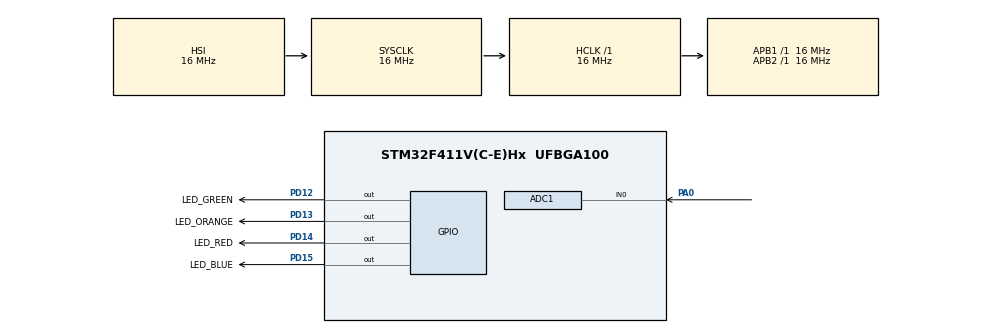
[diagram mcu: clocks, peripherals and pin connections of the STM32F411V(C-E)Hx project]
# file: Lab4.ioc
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ADC1.Channel-0\#ChannelRegularConversion=ADC_CHANNEL_0
ADC1.NbrOfConversionFlag=1
ADC1.Rank-0\#ChannelRegularConversion=1
ADC1.SamplingTime-0\#ChannelRegularConversion=ADC_SAMPLETIME_3CYCLES
ADC1.master=1
Mcu.Family=STM32F4
Mcu.Name=STM32F411V(C-E)Hx
Mcu.Package=UFBGA100
NVIC.ADC_IRQn=true\:0\:0\:false\:false\:true\:true\:true\:true
NVIC.PriorityGroup=NVIC_PRIORITYGROUP_4
PA0-WKUP.Signal=ADCx_IN0
PD12.GPIO_Label=LED_GREEN
PD12.Signal=GPIO_Output
PD13.GPIO_Label=LED_ORANGE
PD13.Signal=GPIO_Output
PD14.GPIO_Label=LED_RED
PD14.Signal=GPIO_Output
PD15.GPIO_Label=LED_BLUE
PD15.Signal=GPIO_Output
ProjectManager.HeapSize=0x200
ProjectManager.StackSize=0x400
ProjectManager.TargetToolchain=STM32CubeIDE
RCC.AHBFreq_Value=16000000
RCC.APB1Freq_Value=16000000
RCC.APB2Freq_Value=16000000
RCC.CortexFreq_Value=16000000
RCC.HSE_VALUE=25000000
RCC.HSI_VALUE=16000000
RCC.LSE_VALUE=32768
RCC.SYSCLKFreq_VALUE=16000000
RCC.VCOOutputFreq_Value=192000000
SH.ADCx_IN0.0=ADC1_IN0,IN0
board=custom

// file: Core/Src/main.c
/* USER CODE BEGIN Header */
/**
  ******************************************************************************
  * @file           : main.c
  * @brief          : Main program body
  ******************************************************************************
  * @attention
  *
  * Copyright (c) 2023 STMicroelectronics.
  * All rights reserved.
  *
  * This software is licensed under terms that can be found in the LICENSE file
  * in the root directory of this software component.
  * If no LICENSE file comes with this software, it is provided AS-IS.
  *
  ******************************************************************************
  */
/* USER CODE END Header */
#include "main.h"

ADC_HandleTypeDef hadc1;

void SystemClock_Config(void);
static void MX_GPIO_Init(void);
static void MX_ADC1_Init(void);
/* USER CODE BEGIN PFP */
void HAL_ADC_ConvCpltCallback(ADC_HandleTypeDef* hadc)
{
  uint32_t adcValue;

  if(hadc->Instance == ADC1)
  {
        adcValue = HAL_ADC_GetValue(&hadc1);

        // 0-20%
        if (adcValue < 820)
        {
            HAL_GPIO_WritePin(GPIOD, LED_GREEN_Pin, GPIO_PIN_RESET);
            HAL_GPIO_WritePin(GPIOD, LED_ORANGE_Pin, GPIO_PIN_RESET);
            HAL_GPIO_WritePin(GPIOD, LED_RED_Pin, GPIO_PIN_RESET);
            HAL_GPIO_WritePin(GPIOD, LED_BLUE_Pin, GPIO_PIN_RESET);
        }
        // 20-40%
        else if (adcValue >= 820 && adcValue < 1640)
        {
            HAL_GPIO_WritePin(GPIOD, LED_GREEN_Pin, GPIO_PIN_SET);
            HAL_GPIO_WritePin(GPIOD, LED_ORANGE_Pin, GPIO_PIN_RESET);
            HAL_GPIO_WritePin(GPIOD, LED_RED_Pin, GPIO_PIN_RESET);
            HAL_GPIO_WritePin(GPIOD, LED_BLUE_Pin, GPIO_PIN_RESET);
        }
        // 40-60%
        else if (adcValue >= 1640 && adcValue < 2460)
        {
            HAL_GPIO_WritePin(GPIOD, LED_GREEN_Pin, GPIO_PIN_SET);
            HAL_GPIO_WritePin(GPIOD, LED_ORANGE_Pin, GPIO_PIN_SET);
            HAL_GPIO_WritePin(GPIOD, LED_RED_Pin, GPIO_PIN_RESET);
            HAL_GPIO_WritePin(GPIOD, LED_BLUE_Pin, GPIO_PIN_RESET);
        }
        // 60-80%
        else if (adcValue >= 2460 && adcValue < 3280)
        {
            HAL_GPIO_WritePin(GPIOD, LED_GREEN_Pin, GPIO_PIN_SET);
            HAL_GPIO_WritePin(GPIOD, LED_ORANGE_Pin, GPIO_PIN_SET);
            HAL_GPIO_WritePin(GPIOD, LED_RED_Pin, GPIO_PIN_SET);
            HAL_GPIO_WritePin(GPIOD, LED_BLUE_Pin, GPIO_PIN_RESET);
        }
        // 80-100%
        else
        {
            HAL_GPIO_WritePin(GPIOD, LED_GREEN_Pin, GPIO_PIN_SET);
            HAL_GPIO_WritePin(GPIOD, LED_ORANGE_Pin, GPIO_PIN_SET);
            HAL_GPIO_WritePin(GPIOD, LED_RED_Pin, GPIO_PIN_RESET);
            HAL_GPIO_WritePin(GPIOD, LED_BLUE_Pin, GPIO_PIN_SET);
        }

        HAL_ADC_Start_IT(&hadc1);
  }
}
/* USER CODE END PFP */

int main(void)
{

  /* MCU Configuration--------------------------------------------------------*/

  /* Reset of all peripherals, Initializes the Flash interface and the Systick. */
  HAL_Init();

  /* Configure the system clock */
  SystemClock_Config();

  /* Initialize all configured peripherals */
  MX_GPIO_Init();
  MX_ADC1_Init();
  /* USER CODE BEGIN 2 */
  HAL_ADC_Start_IT(&hadc1);
  /* USER CODE END 2 */

  /* Infinite loop */
  while (1)
  {

  }
}

void SystemClock_Config(void)
{
  RCC_OscInitTypeDef RCC_OscInitStruct = {0};
  RCC_ClkInitTypeDef RCC_ClkInitStruct = {0};

  /** Configure the main internal regulator output voltage
  */
  __HAL_RCC_PWR_CLK_ENABLE();
  __HAL_PWR_VOLTAGESCALING_CONFIG(PWR_REGULATOR_VOLTAGE_SCALE1);

  /** Initializes the RCC Oscillators according to the specified parameters
  * in the RCC_OscInitTypeDef structure.
  */
  RCC_OscInitStruct.OscillatorType = RCC_OSCILLATORTYPE_HSI;
  RCC_OscInitStruct.HSIState = RCC_HSI_ON;
  RCC_OscInitStruct.HSICalibrationValue = RCC_HSICALIBRATION_DEFAULT;
  RCC_OscInitStruct.PLL.PLLState = RCC_PLL_NONE;
  if (HAL_RCC_OscConfig(&RCC_OscInitStruct) != HAL_OK)
  {
    Error_Handler();
  }

  /** Initializes the CPU, AHB and APB buses clocks
  */
  RCC_ClkInitStruct.ClockType = RCC_CLOCKTYPE_HCLK|RCC_CLOCKTYPE_SYSCLK
                              |RCC_CLOCKTYPE_PCLK1|RCC_CLOCKTYPE_PCLK2;
  RCC_ClkInitStruct.SYSCLKSource = RCC_SYSCLKSOURCE_HSI;
  RCC_ClkInitStruct.AHBCLKDivider = RCC_SYSCLK_DIV1;
  RCC_ClkInitStruct.APB1CLKDivider = RCC_HCLK_DIV1;
  RCC_ClkInitStruct.APB2CLKDivider = RCC_HCLK_DIV1;

  if (HAL_RCC_ClockConfig(&RCC_ClkInitStruct, FLASH_LATENCY_0) != HAL_OK)
  {
    Error_Handler();
  }
}

static void MX_ADC1_Init(void)
{

  ADC_ChannelConfTypeDef sConfig = {0};

  /** Configure the global features of the ADC (Clock, Resolution, Data Alignment and number of conversion)
  */
  hadc1.Instance = ADC1;
  hadc1.Init.ClockPrescaler = ADC_CLOCK_SYNC_PCLK_DIV2;
  hadc1.Init.Resolution = ADC_RESOLUTION_12B;
  hadc1.Init.ScanConvMode = DISABLE;
  hadc1.Init.ContinuousConvMode = DISABLE;
  hadc1.Init.DiscontinuousConvMode = DISABLE;
  hadc1.Init.ExternalTrigConvEdge = ADC_EXTERNALTRIGCONVEDGE_NONE;
  hadc1.Init.ExternalTrigConv = ADC_SOFTWARE_START;
  hadc1.Init.DataAlign = ADC_DATAALIGN_RIGHT;
  hadc1.Init.NbrOfConversion = 1;
  hadc1.Init.DMAContinuousRequests = DISABLE;
  hadc1.Init.EOCSelection = ADC_EOC_SINGLE_CONV;
  if (HAL_ADC_Init(&hadc1) != HAL_OK)
  {
    Error_Handler();
  }

  /** Configure for the selected ADC regular channel its corresponding rank in the sequencer and its sample time.
  */
  sConfig.Channel = ADC_CHANNEL_0;
  sConfig.Rank = 1;
  sConfig.SamplingTime = ADC_SAMPLETIME_3CYCLES;
  if (HAL_ADC_ConfigChannel(&hadc1, &sConfig) != HAL_OK)
  {
    Error_Handler();
  }

}

static void MX_GPIO_Init(void)
{
  GPIO_InitTypeDef GPIO_InitStruct = {0};

  /* GPIO Ports Clock Enable */
  __HAL_RCC_GPIOD_CLK_ENABLE();
  __HAL_RCC_GPIOA_CLK_ENABLE();

  /*Configure GPIO pin Output Level */
  HAL_GPIO_WritePin(GPIOD, LED_BLUE_Pin|LED_RED_Pin|LED_ORANGE_Pin|LED_GREEN_Pin, GPIO_PIN_RESET);

  /*Configure GPIO pins : LED_BLUE_Pin LED_RED_Pin LED_ORANGE_Pin LED_GREEN_Pin */
  GPIO_InitStruct.Pin = LED_BLUE_Pin|LED_RED_Pin|LED_ORANGE_Pin|LED_GREEN_Pin;
  GPIO_InitStruct.Mode = GPIO_MODE_OUTPUT_PP;
  GPIO_InitStruct.Pull = GPIO_NOPULL;
  GPIO_InitStruct.Speed = GPIO_SPEED_FREQ_LOW;
  HAL_GPIO_Init(GPIOD, &GPIO_InitStruct);

}

void Error_Handler(void)
{
  __disable_irq();
  while (1)
  {
  }
}
